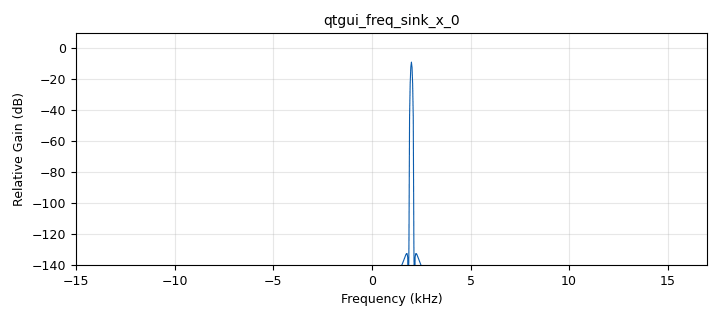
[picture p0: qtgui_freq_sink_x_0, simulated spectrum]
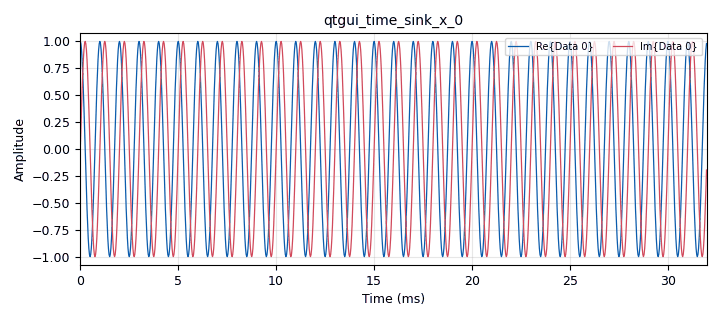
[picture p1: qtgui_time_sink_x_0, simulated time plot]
options:
  parameters:
    generate_options: qt_gui
    id: ShiftedFreq
    output_language: python
    title: Not titled yet
  states: {}

blocks:
- name: rmt_delta_freq
  id: variable
  parameters:
    value: '0'
  states: {}
- name: samp_rate
  id: variable
  parameters:
    value: '32000'
  states: {}
- name: analog_sig_source_x_0
  id: analog_sig_source_x
  parameters:
    amp: '1'
    freq: '1000'
    offset: '0'
    phase: '0'
    samp_rate: samp_rate
    type: complex
    waveform: analog.GR_COS_WAVE
  states: {}
- name: analog_sig_source_x_1
  id: analog_sig_source_x
  parameters:
    amp: '1'
    freq: rmt_delta_freq
    offset: '0'
    phase: '0'
    samp_rate: samp_rate
    type: complex
    waveform: analog.GR_COS_WAVE
  states: {}
- name: blocks_multiply_xx_0
  id: blocks_multiply_xx
  parameters:
    type: complex
  states: {}
- name: blocks_throttle2_0
  id: blocks_throttle2
  parameters:
    samples_per_second: samp_rate
    type: complex
  states: {}
- name: qtgui_freq_sink_x_0
  id: qtgui_freq_sink_x
  parameters:
    bw: samp_rate
    fc: '1000'
    fftsize: '1024'
    type: complex
  states: {}
- name: qtgui_time_sink_x_0
  id: qtgui_time_sink_x
  parameters:
    size: '1024'
    srate: samp_rate
    type: complex
  states: {}
- name: xmlrpc_server_0
  id: xmlrpc_server
  parameters:
    addr: localhost
    port: '8000'
  states: {}

connections:
- [analog_sig_source_x_0, '0', blocks_multiply_xx_0, '0']
- [analog_sig_source_x_1, '0', blocks_multiply_xx_0, '1']
- [blocks_multiply_xx_0, '0', blocks_throttle2_0, '0']
- [blocks_throttle2_0, '0', qtgui_freq_sink_x_0, '0']
- [blocks_throttle2_0, '0', qtgui_time_sink_x_0, '0']

metadata:
  file_format: 1
  grc_version: 3.10.7.0
